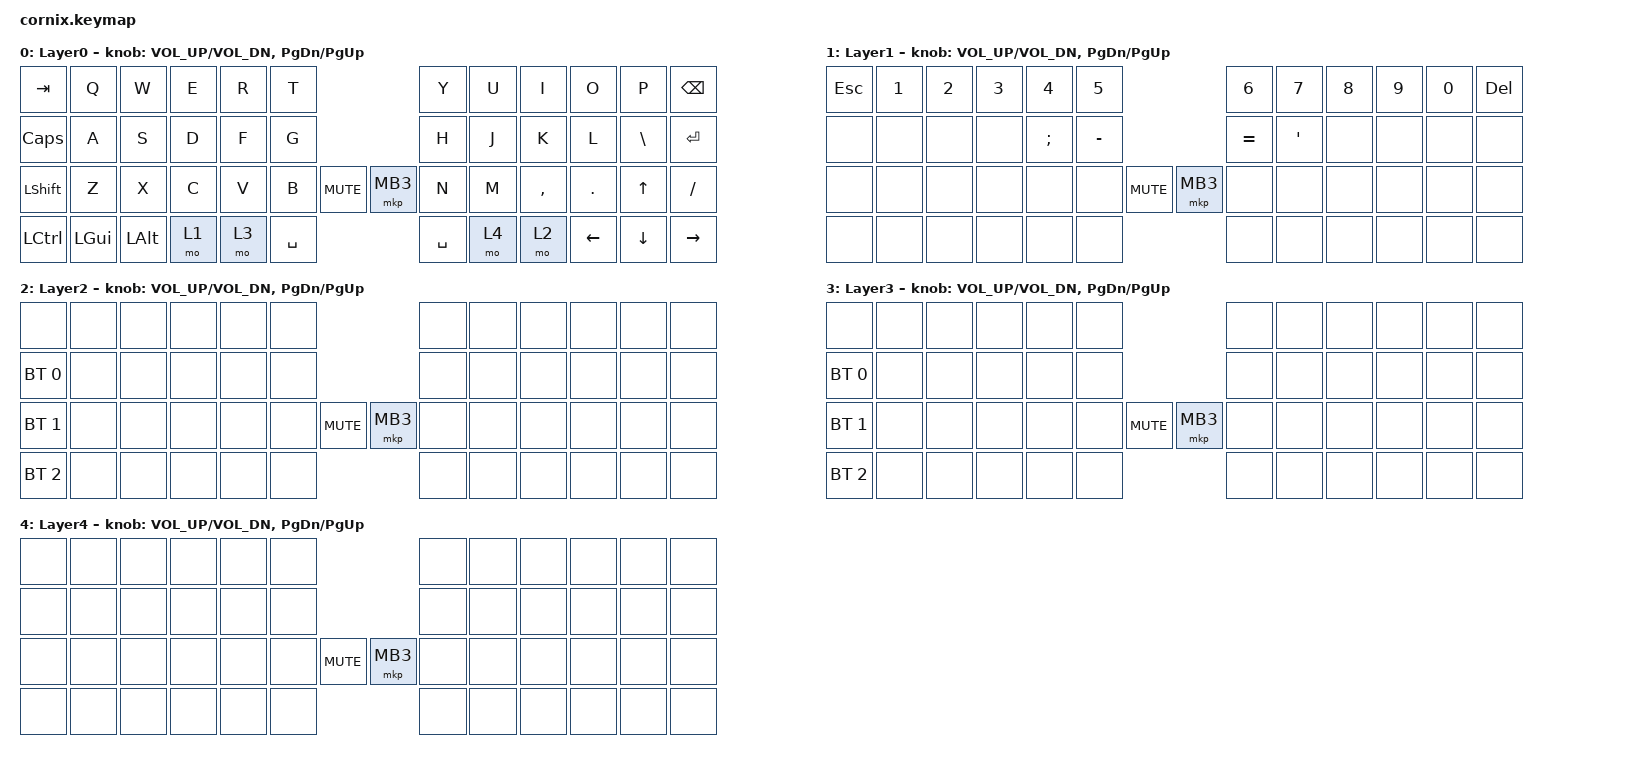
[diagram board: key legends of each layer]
/*
 * Copyright (c) 2020 The ZMK Contributors
 * SPDX-License-Identifier: MIT
 */

#include "zmk-helpers/helper.h"
#include "includes/cornix54.h"

#define HM_TAPPING_TERM      250
#define HM_PRIOR_IDLE        70
#define HM_TAPPING_TERM_FAST 200

#define KEYS_L LT0 LT1 LT2 LT3 LT4 LT5 LM0 LM1 LM2 LM3 LM4 LM5 LB0 LB1 LB2 LB3 LB4 LB5
#define KEYS_R RT0 RT1 RT2 RT3 RT4 RT5 RM0 RM1 RM2 RM3 RM4 RM5 RB0 RB1 RB2 RB3 RB4 RB5
#define THUMBS LH1 LH0 RH0 RH1
#define KEYS_T LH1 LH0 RH0 RH1

#include <behaviors.dtsi>
#include <dt-bindings/zmk/bt.h>
#include <dt-bindings/zmk/keys.h>
#include <dt-bindings/zmk/pointing.h>

/ {
    keymap {
        compatible = "zmk,keymap";

        default_layer {
            display-name = "Layer0";

            // ------------------------------------------------------------------------------------------------------------
            // |  TAB  |  Q  |  W  |  E   |  R   |  T   |                   |  Y   |  U    |  I    |  O   |   P   | BKSPC |
            // |  CAPS |  A  |  S  |  D   |  F   |  G   |                   |  H   |  J    |  K    |  L   |   \   | ENTER |
            // | SHIFT |  Z  |  X  |  C   |  V   |  B   |  MUTE  |  | BTN3  |  N   |  M    |  ,    |  .   |   UP  |   /   |
            // | CTRL  | GUI | ALT | MO1  | MO3  | SPACE|                   | SPACE|  MO4  |  MO2  | LEFT |  DOWN | RIGHT |

            bindings = <
&kp TAB       &kp Q     &kp W     &kp E  &kp R  &kp T                            &kp Y      &kp U  &kp I      &kp O     &kp P     &kp BSPC
&kp CAPSLOCK  &kp A     &kp S     &kp D  &kp F  &kp G                            &kp H      &kp J  &kp K      &kp L     &kp BSLH  &kp ENTER
&kp LSHIFT    &kp Z     &kp X     &kp C  &kp V  &kp B      &kp C_MUTE  &mkp MB3  &kp N      &kp M  &kp COMMA  &kp DOT   &kp UP    &kp FSLH
&kp LCTRL     &kp LGUI  &kp LALT  &mo 1  &mo 3  &kp SPACE                        &kp SPACE  &mo 4  &mo 2      &kp LEFT  &kp DOWN  &kp RIGHT
            >;

            sensor-bindings = <&inc_dec_kp C_VOL_UP C_VOL_DN &inc_dec_kp PG_DN PG_UP>;
        };

        lower_layer {
            display-name = "Layer1";

            // ------------------------------------------------------------------------------------------------------------
            // |  ESC  |  1  |  2  |  3   |  4   |  5   |                   |  6   |  7    |  8    |  9   |   0   |  DEL  |
            // |       |     |     |      |  ;   |  -   |                   |  =   |  '    |       |      |       |       |
            // |       |     |     |      |      |      |  MUTE  |  | BTN3  |      |       |       |      |       |       |
            // |       |     |     |      |      |      |                   |      |       |       |      |       |       |

            bindings = <
&kp ESC  &kp N1  &kp N2  &kp N3  &kp N4    &kp N5                           &kp N6     &kp N7   &kp N8  &kp N9  &kp N0  &kp DEL
&none    &none   &none   &none   &kp SEMI  &kp MINUS                        &kp EQUAL  &kp SQT  &none   &none   &none   &none
&none    &none   &none   &none   &none     &none      &kp C_MUTE  &mkp MB3  &none      &none    &none   &none   &none   &none
&none    &none   &none   &none   &none     &none                            &none      &none    &none   &none   &none   &none
            >;

            sensor-bindings = <&inc_dec_kp C_VOL_UP C_VOL_DN &inc_dec_kp PG_DN PG_UP>;
        };

        raise_layer {
            display-name = "Layer2";

            // ------------------------------------------------------------------------------------------------------------
            // |       |     |     |      |      |      |                   |      |       |       |      |       |       |
            // | BT 1  |     |     |      |      |      |                   |      |       |       |      |       |       |
            // | BT 2  |     |     |      |      |      |  MUTE  |  | BTN3  |      |       |       |      |       |       |
            // | BT 3  |     |     |      |      |      |                   |      |       |       |      |       |       |

            bindings = <
&none         &none  &none  &none  &none  &none                        &none  &none  &none  &none  &none  &none
&bt BT_SEL 0  &none  &none  &none  &none  &none                        &none  &none  &none  &none  &none  &none
&bt BT_SEL 1  &none  &none  &none  &none  &none  &kp C_MUTE  &mkp MB3  &none  &none  &none  &none  &none  &none
&bt BT_SEL 2  &none  &none  &none  &none  &none                        &none  &none  &none  &none  &none  &none
            >;

            sensor-bindings = <&inc_dec_kp C_VOL_UP C_VOL_DN &inc_dec_kp PG_DN PG_UP>;
        };

        layer_3 {
            display-name = "Layer3";

            // ------------------------------------------------------------------------------------------------------------
            // |       |     |     |      |      |      |                   |      |       |       |      |       |       |
            // | BT 1  |     |     |      |      |      |                   |      |       |       |      |       |       |
            // | BT 2  |     |     |      |      |      |  MUTE  |  | BTN3  |      |       |       |      |       |       |
            // | BT 3  |     |     |      |      |      |                   |      |       |       |      |       |       |

            bindings = <
&none         &none  &none  &none  &none  &none                        &none  &none  &none  &none  &none  &none
&bt BT_SEL 0  &none  &none  &none  &none  &none                        &none  &none  &none  &none  &none  &none
&bt BT_SEL 1  &none  &none  &none  &none  &none  &kp C_MUTE  &mkp MB3  &none  &none  &none  &none  &none  &none
&bt BT_SEL 2  &none  &none  &none  &none  &none                        &none  &none  &none  &none  &none  &none
            >;

            sensor-bindings = <&inc_dec_kp C_VOL_UP C_VOL_DN &inc_dec_kp PG_DN PG_UP>;
        };

        layer_4 {
            display-name = "Layer4";

            // ------------------------------------------------------------------------------------------------------------
            // |       |     |     |      |      |      |                   |      |       |       |      |       |       |
            // |       |     |     |      |      |      |                   |      |       |       |      |       |       |
            // |       |     |     |      |      |      |  MUTE  |  | BTN3  |      |       |       |      |       |       |
            // |       |     |     |      |      |      |                   |      |       |       |      |       |       |

            bindings = <
&none  &none  &none  &none  &none  &none                        &none  &none  &none  &none  &none  &none
&none  &none  &none  &none  &none  &none                        &none  &none  &none  &none  &none  &none
&none  &none  &none  &none  &none  &none  &kp C_MUTE  &mkp MB3  &none  &none  &none  &none  &none  &none
&none  &none  &none  &none  &none  &none                        &none  &none  &none  &none  &none  &none
            >;

            sensor-bindings = <&inc_dec_kp C_VOL_UP C_VOL_DN &inc_dec_kp PG_DN PG_UP>;
        };
    };
};

